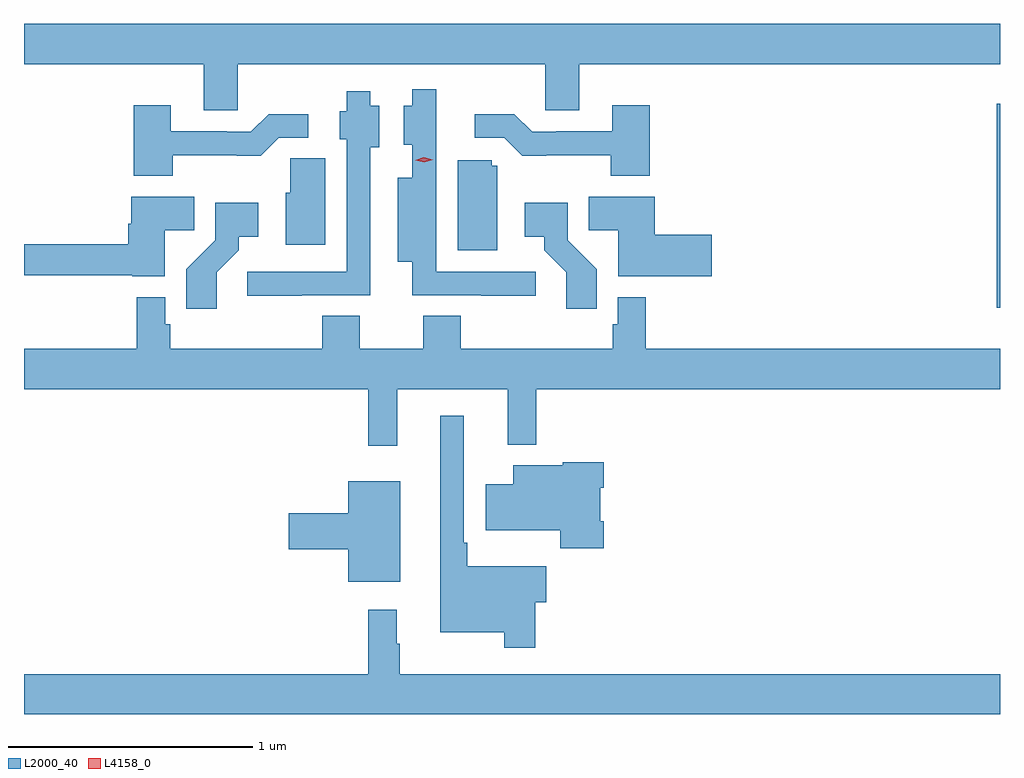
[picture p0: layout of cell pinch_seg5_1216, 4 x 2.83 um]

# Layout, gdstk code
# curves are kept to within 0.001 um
import gdstk
lib = gdstk.Library(unit=1e-6, precision=1e-09)
def R(c, l, rs):  # rectangles x0, y0, x1, y1
    for r in rs: c.add(gdstk.rectangle(r[:2], r[2:], *l))
def P(c, l, *ps):  # polygons
    for p in ps: c.add(gdstk.Polygon(p, *l))
L2000_40 = (2000, 40)
L4158_0 = (4158, 0)

pinch_seg5_1216 = lib.new_cell('pinch_seg5_1216')
R(pinch_seg5_1216, L2000_40, [(386.906,897.054,386.92,897.889)])
P(pinch_seg5_1216, L2000_40, [(383.796,898.052),(385.056,898.052),(385.056,897.862),(385.195,897.862),(385.195,898.052),(386.92,898.052),(386.92,898.216),(382.92,898.216),(382.92,898.052),(383.657,898.052),(383.657,897.862),(383.796,897.862)],
  [(385.018,897.201),(384.609,897.201),(384.609,897.726),(384.61,897.726),(384.61,897.949),(384.512,897.949),(384.512,897.88),(384.476,897.88),(384.476,897.722),(384.512,897.722),(384.512,897.586),(384.452,897.586),(384.452,897.242),(384.512,897.242),(384.512,897.105),(384.793,897.105),(384.793,897.103),(385.018,897.103)],
  [(384.059,897.105),(384.339,897.105),(384.339,897.71),(384.376,897.71),(384.376,897.88),(384.34,897.88),(384.34,897.94),(384.242,897.94),(384.242,897.858),(384.215,897.858),(384.215,897.744),(384.243,897.744),(384.243,897.201),(383.835,897.201),(383.835,897.103),(384.059,897.103)],
  [(383.529,897.678),(383.891,897.677),(383.964,897.75),(384.085,897.75),(384.085,897.847),(383.923,897.847),(383.85,897.774),(383.75,897.774),(383.75,897.777),(383.521,897.777),(383.521,897.883),(383.369,897.883),(383.369,897.593),(383.529,897.593)],
  [(385.484,897.883),(385.331,897.883),(385.331,897.777),(385.102,897.777),(385.102,897.774),(385.002,897.774),(384.929,897.847),(384.768,897.847),(384.768,897.75),(384.888,897.75),(384.961,897.677),(385.324,897.678),(385.324,897.593),(385.484,897.593)],
  [(384.154,897.665),(384.012,897.665),(384.012,897.525),(383.993,897.525),(383.993,897.312),(384.154,897.312)],
  [(384.859,897.636),(384.837,897.636),(384.837,897.657),(384.698,897.657),(384.698,897.288),(384.859,897.288)],
  [(383.497,897.37),(383.618,897.37),(383.618,897.508),(383.36,897.508),(383.36,897.398),(383.348,897.398),(383.348,897.314),(382.92,897.314),(382.92,897.186),(383.364,897.186),(383.364,897.182),(383.497,897.182)],
  [(385.738,897.353),(385.505,897.353),(385.505,897.508),(385.234,897.508),(385.234,897.37),(385.355,897.37),(385.355,897.182),(385.738,897.182)],
  [(383.71,897.199),(383.8,897.289),(383.8,897.344),(383.881,897.344),(383.881,897.484),(383.703,897.484),(383.703,897.329),(383.584,897.21),(383.584,897.048),(383.71,897.048)],
  [(385.268,897.21),(385.149,897.329),(385.149,897.484),(384.972,897.484),(384.972,897.344),(385.052,897.344),(385.052,897.289),(385.143,897.199),(385.143,897.048),(385.268,897.048)],
  [(384.449,896.72),(384.902,896.72),(384.902,896.492),(385.019,896.492),(385.019,896.72),(386.92,896.72),(386.92,896.884),(385.469,896.884),(385.469,897.097),(385.353,897.097),(385.353,896.985),(385.333,896.985),(385.333,896.884),(384.71,896.884),(384.71,897.02),(384.557,897.02),(384.557,896.884),(384.295,896.884),(384.295,897.02),(384.143,897.02),(384.143,896.884),(383.519,896.884),(383.519,896.985),(383.499,896.985),(383.499,897.097),(383.383,897.097),(383.383,896.884),(382.92,896.884),(382.92,896.72),(384.331,896.72),(384.331,896.487),(384.449,896.487)],
  [(385.016,895.846),(385.06,895.846),(385.06,895.993),(384.736,895.993),(384.736,896.089),(384.723,896.089),(384.723,896.611),(384.626,896.611),(384.626,895.724),(384.888,895.724),(384.888,895.659),(385.016,895.659)],
  [(385.295,896.179),(385.282,896.179),(385.282,896.315),(385.295,896.315),(385.295,896.419),(385.128,896.419),(385.128,896.407),(384.926,896.407),(384.926,896.329),(384.812,896.329),(384.812,896.141),(385.117,896.141),(385.117,896.067),(385.295,896.067)],
  [(384.463,896.341),(384.248,896.341),(384.248,896.21),(384.006,896.21),(384.006,896.063),(384.248,896.063),(384.248,895.931),(384.463,895.931)],
  [(386.92,895.552),(384.46,895.552),(384.46,895.676),(384.448,895.676),(384.448,895.816),(384.331,895.816),(384.331,895.552),(382.92,895.552),(382.92,895.388),(386.92,895.388)])
P(pinch_seg5_1216, L4158_0, [(384.56,897.649),(384.524,897.657),(384.524,897.658),(384.524,897.658),(384.559,897.669),(384.596,897.66),(384.596,897.66),(384.596,897.66)])

lib.write_gds('pinch_seg5_1216.gds')
